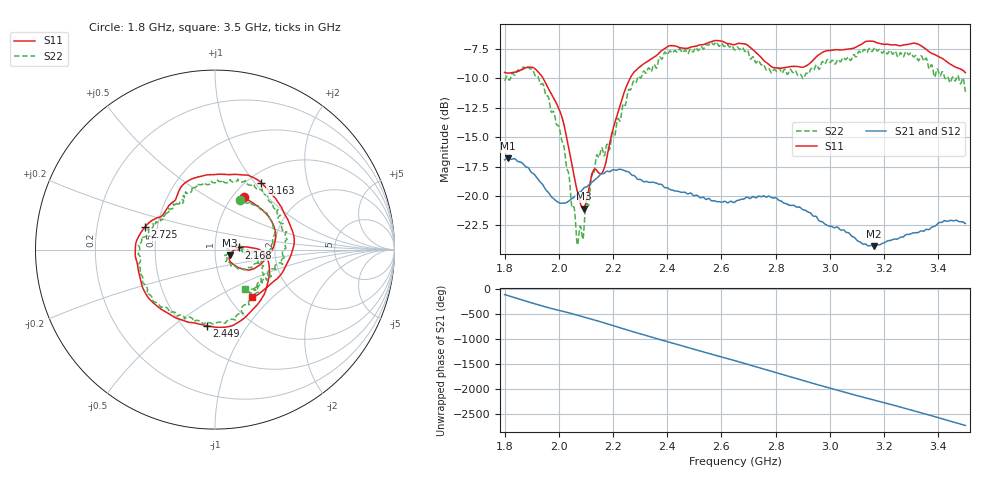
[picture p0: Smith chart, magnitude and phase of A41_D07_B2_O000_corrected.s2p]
! Created with skrf 1.9.0 (http://scikit-rf.org).
# Hz S RI R 50.0
!freq ReS11 ImS11 ReS21 ImS21 ReS12 ImS12 ReS22 ImS22
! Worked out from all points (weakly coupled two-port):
!   1601 points, 1.8 GHz to 3.5 GHz, reference 50 ohm
!   highest |S21| = -16.81 dB at 1.812 GHz (marker M1); lowest = -24.3 dB at 3.161 GHz (marker M2)
!   lowest |S11| = -21.1 dB at 2.091 GHz (marker M3), VSWR 1.19, Z = 58.9 - j3.74 ohm
!   |S11| at or under -10 dB: 1.942 GHz to 2.263 GHz (320.8 MHz wide, 15.3 % of centre)
!   |S22| runs from -24.2 to -6.9 dB; largest |S21 - S12| = 0.0027
!   S11 on the Smith chart (normalised r, x): 1.8 GHz: 1.12, +0.74; 2.168 GHz: 1.30, +0.03; 2.449 GHz: 0.64, -0.66; 2.725 GHz: 0.43, +0.13; 3.163 GHz: 1.15, +1.08; 3.5 GHz: 1.28, -0.75
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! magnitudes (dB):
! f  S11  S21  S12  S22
! 1.8 GHz  -9.5  -16.9  -16.9  -10.2
! 1.812 GHz  -9.5  -16.8  -16.8  -9.9
! 1.883 GHz  -9.1  -17.6  -17.6  -9.0
! 1.941 GHz  -10.0  -19.1  -19.1  -10.5
! 2.011 GHz  -13.3  -20.6  -20.6  -15.3
! 2.066 GHz  -19.3  -19.9  -19.9  -23.6
! 2.084 GHz  -20.9  -19.6  -19.5  -23.0
! 2.091 GHz  -21.1  -19.4  -19.4  -23.3
! 2.137 GHz  -17.7  -18.5  -18.5  -16.9
! 2.168 GHz  -17.6  -18.1  -18.1  -16.6
! 2.259 GHz  -10.2  -18.0  -18.0  -10.9
! 2.367 GHz  -7.9  -19.0  -18.9  -8.5
! 2.449 GHz  -7.4  -19.7  -19.7  -7.6
! 2.65 GHz  -7.1  -20.5  -20.5  -7.6
! 2.725 GHz  -7.8  -20.1  -20.1  -8.6
! 2.797 GHz  -9.1  -20.2  -20.1  -9.2
! 2.934 GHz  -8.6  -21.6  -21.6  -9.2
! 3.161 GHz  -6.9  -24.3  -24.2  -7.5
! 3.163 GHz  -6.9  -24.3  -24.2  -7.4
! 3.217 GHz  -7.1  -23.8  -23.8  -7.7
! 3.324 GHz  -7.1  -23.1  -23.1  -8.4
! 3.5 GHz  -9.5  -22.3  -22.3  -11.1
